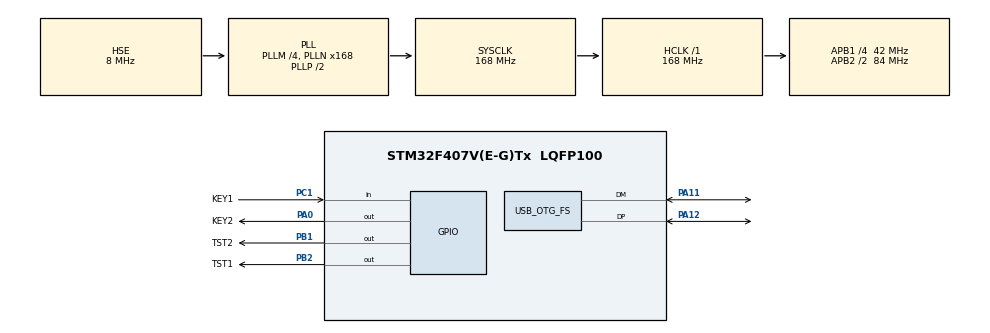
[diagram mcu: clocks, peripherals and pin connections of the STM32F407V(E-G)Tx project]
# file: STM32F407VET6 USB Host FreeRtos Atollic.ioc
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FREERTOS.INCLUDE_eTaskGetState=1
FREERTOS.INCLUDE_pcTaskGetTaskName=1
FREERTOS.INCLUDE_uxTaskGetStackHighWaterMark=1
FREERTOS.INCLUDE_xTaskGetCurrentTaskHandle=1
FREERTOS.INCLUDE_xTaskGetHandle=1
FREERTOS.Tasks01=defaultTask,16,1700,StartDefaultTask,Default,NULL,Dynamic,NULL,NULL
FREERTOS.configCHECK_FOR_STACK_OVERFLOW=2
FREERTOS.configGENERATE_RUN_TIME_STATS=1
FREERTOS.configMINIMAL_STACK_SIZE=1024
FREERTOS.configRECORD_STACK_HIGH_ADDRESS=1
FREERTOS.configUSE_DAEMON_TASK_STARTUP_HOOK=1
FREERTOS.configUSE_MALLOC_FAILED_HOOK=1
FREERTOS.configUSE_STATS_FORMATTING_FUNCTIONS=1
FREERTOS.configUSE_TRACE_FACILITY=1
Mcu.Family=STM32F4
Mcu.Name=STM32F407V(E-G)Tx
Mcu.Package=LQFP100
NVIC.OTG_FS_IRQn=true\:5\:0\:false\:false\:true\:true\:true\:true
NVIC.PriorityGroup=NVIC_PRIORITYGROUP_4
NVIC.TIM4_IRQn=true\:5\:0\:false\:false\:true\:true\:true\:true
NVIC.TIM8_TRG_COM_TIM14_IRQn=true\:0\:0\:false\:false\:true\:false\:false\:true
NVIC.TimeBase=TIM8_TRG_COM_TIM14_IRQn
NVIC.TimeBaseIP=TIM14
PA0-WKUP.GPIO_Label=KEY2
PA0-WKUP.Signal=GPIO_Output
PA11.Mode=Host_Only
PA11.Signal=USB_OTG_FS_DM
PA12.Mode=Host_Only
PA12.Signal=USB_OTG_FS_DP
PA13.Mode=Serial_Wire
PA13.Signal=SYS_JTMS-SWDIO
PA14.Mode=Serial_Wire
PA14.Signal=SYS_JTCK-SWCLK
PB1.GPIO_Label=TST2
PB1.Signal=GPIO_Output
PB2.GPIO_Label=TST1
PB2.Signal=GPIO_Output
PC1.GPIO_Label=KEY1
PC1.GPIO_PuPd=GPIO_PULLDOWN
PC1.Signal=GPIO_Input
PH0-OSC_IN.Mode=HSE-External-Oscillator
PH0-OSC_IN.Signal=RCC_OSC_IN
PH1-OSC_OUT.Mode=HSE-External-Oscillator
PH1-OSC_OUT.Signal=RCC_OSC_OUT
ProjectManager.HeapSize=0x4000
ProjectManager.StackSize=0x4000
ProjectManager.TargetToolchain=TrueSTUDIO
RCC.48MHZClocksFreq_Value=48000000
RCC.AHBFreq_Value=168000000
RCC.APB1CLKDivider=RCC_HCLK_DIV4
RCC.APB1Freq_Value=42000000
RCC.APB1TimFreq_Value=84000000
RCC.APB2CLKDivider=RCC_HCLK_DIV2
RCC.APB2Freq_Value=84000000
RCC.APB2TimFreq_Value=168000000
RCC.CortexFreq_Value=168000000
RCC.HCLKFreq_Value=168000000
RCC.HSE_VALUE=8000000
RCC.HSI_VALUE=16000000
RCC.LSE_VALUE=32768
RCC.PLLM=4
RCC.PLLN=168
RCC.PLLQ=7
RCC.SYSCLKFreq_VALUE=168000000
RCC.SYSCLKSource=RCC_SYSCLKSOURCE_PLLCLK
RCC.VCOOutputFreq_Value=336000000
TIM4.Channel-Output\ Compare1\ No\ Output=TIM_CHANNEL_1
TIM4.Period=100
TIM4.Prescaler=840
TIM4.Pulse-Output\ Compare1\ No\ Output=50
USB_HOST.BSP.number=1
USB_HOST.USBH_DEBUG_LEVEL-HID_FS=3
USB_HOST.USBH_HandleTypeDef-HID_FS=hUsbHostFS
USB_HOST.USBH_MAX_DATA_BUFFER-HID_FS=1024
USB_HOST.USBH_MAX_SIZE_CONFIGURATION-HID_FS=512
USB_HOST.USBH_PROCESS_PRIO-HID_FS=osPriorityNormal
USB_HOST.VirtualModeFS=Hid
USB_HOST0.BSP.STBoard=false
USB_HOST0.BSP.api=Unknown
USB_HOST0.BSP.i2caddr=0
USB_HOST0.BSP.instance=PB1
USB_HOST0.BSP.ip=GPIO
USB_HOST0.BSP.mode=Output
USB_HOST0.BSP.name=Drive_VBUS_FS
USB_HOST0.BSP.solution=PB1
USB_OTG_FS.VirtualMode=Host_Only
USB_OTG_FS.phy_itface=HCD_PHY_EMBEDDED
VP_FREERTOS_VS_CMSIS_V2.Mode=CMSIS_V2
VP_SYS_VS_tim14.Mode=TIM14
VP_TIM4_VS_ClockSourceINT.Mode=Internal
VP_TIM4_VS_no_output1.Mode=Output Compare1 No Output
VP_USB_HOST_VS_USB_HOST_HID_FS.Mode=HID_FS
board=custom

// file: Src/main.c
/* USER CODE BEGIN Header */
/**
 ******************************************************************************
 * @file           : main.c
 * @brief          : Main program body
 ******************************************************************************
 * @attention
 *
 * <h2><center>&copy; Copyright (c) 2020 STMicroelectronics.
 * All rights reserved.</center></h2>
 *
 * This software component is licensed by ST under BSD 3-Clause license,
 * the "License"; You may not use this file except in compliance with the
 * License. You may obtain a copy of the License at:
 *                        opensource.org/licenses/BSD-3-Clause
 *
 ******************************************************************************
 */
/* USER CODE END Header */

#include "main.h"
#include "cmsis_os.h"
#include "usb_host.h"

/* USER CODE BEGIN Includes */
#include "usbh_hid_keybd.h"
//#include "task.h"

/* USER CODE END Includes */

/* USER CODE BEGIN PM */
extern volatile unsigned long ulHighFrequencyTimerTicks;
/* USER CODE END PM */

TIM_HandleTypeDef htim4;

osThreadId_t defaultTaskHandle;

void SystemClock_Config(void);
static void MX_GPIO_Init(void);
static void MX_TIM4_Init(void);
void StartDefaultTask(void *argument); // for v2

/* USER CODE BEGIN 0 */
//extern USBH_HandleTypeDef hUsbHostFS;
uint8_t buf[1000];

//#define traceTASK_SWITCHED_IN() aaa(printf("traceTASK_SWITCHED_IN\n");)
//extern uint8_t FreeRTOSDebugConfig[];
/* USER CODE END 0 */

int main(void)
{
	/* USER CODE BEGIN 1 */
	/*if (FreeRTOSDebugConfig[0] == 0)
	{

	   for(;;);
	 }*/

	/* USER CODE END 1 */

	/* MCU Configuration--------------------------------------------------------*/

	/* Reset of all peripherals, Initializes the Flash interface and the Systick. */
	HAL_Init();

	/* Configure the system clock */
	SystemClock_Config();

	/* Initialize all configured peripherals */
	MX_GPIO_Init();
	MX_TIM4_Init();

	/* USER CODE BEGIN 2 */

	printf("start\n");

	//vTaskStartTrace();
	HAL_TIM_Base_Start_IT(&htim4);

	//MX_USB_HOST_Init();

	/* USER CODE END 2 */

	osKernelInitialize(); // Initialize CMSIS-RTOS

	/* Create the thread(s) */
	/* definition and creation of defaultTask */
	const osThreadAttr_t defaultTask_attributes = {
			.name = "defaultTask",
			.priority = (osPriority_t) osPriorityBelowNormal,
			.stack_size = 1700
	};
	defaultTaskHandle = osThreadNew(StartDefaultTask, NULL, &defaultTask_attributes);

	/* USER CODE BEGIN RTOS_THREADS */
	MX_USB_HOST_Init();
	/* USER CODE END RTOS_THREADS */

	/* Start scheduler */
	osKernelStart();

	/* We should never get here as control is now taken by the scheduler */

	/* Infinite loop */
	while (1)
	{

	}
}

void SystemClock_Config(void)
{
	RCC_OscInitTypeDef RCC_OscInitStruct = {0};
	RCC_ClkInitTypeDef RCC_ClkInitStruct = {0};

	/** Configure the main internal regulator output voltage
	 */
	__HAL_RCC_PWR_CLK_ENABLE();
	__HAL_PWR_VOLTAGESCALING_CONFIG(PWR_REGULATOR_VOLTAGE_SCALE1);
	/** Initializes the CPU, AHB and APB busses clocks
	 */
	RCC_OscInitStruct.OscillatorType = RCC_OSCILLATORTYPE_HSE;
	RCC_OscInitStruct.HSEState = RCC_HSE_ON;
	RCC_OscInitStruct.PLL.PLLState = RCC_PLL_ON;
	RCC_OscInitStruct.PLL.PLLSource = RCC_PLLSOURCE_HSE;
	RCC_OscInitStruct.PLL.PLLM = 4;
	RCC_OscInitStruct.PLL.PLLN = 168;
	RCC_OscInitStruct.PLL.PLLP = RCC_PLLP_DIV2;
	RCC_OscInitStruct.PLL.PLLQ = 7;
	if (HAL_RCC_OscConfig(&RCC_OscInitStruct) != HAL_OK)
	{
		Error_Handler();
	}
	/** Initializes the CPU, AHB and APB busses clocks
	 */
	RCC_ClkInitStruct.ClockType = RCC_CLOCKTYPE_HCLK|RCC_CLOCKTYPE_SYSCLK
			|RCC_CLOCKTYPE_PCLK1|RCC_CLOCKTYPE_PCLK2;
	RCC_ClkInitStruct.SYSCLKSource = RCC_SYSCLKSOURCE_PLLCLK;
	RCC_ClkInitStruct.AHBCLKDivider = RCC_SYSCLK_DIV1;
	RCC_ClkInitStruct.APB1CLKDivider = RCC_HCLK_DIV4;
	RCC_ClkInitStruct.APB2CLKDivider = RCC_HCLK_DIV2;

	if (HAL_RCC_ClockConfig(&RCC_ClkInitStruct, FLASH_LATENCY_5) != HAL_OK)
	{
		Error_Handler();
	}
}

static void MX_TIM4_Init(void)
{

	TIM_ClockConfigTypeDef sClockSourceConfig = {0};
	TIM_MasterConfigTypeDef sMasterConfig = {0};
	TIM_OC_InitTypeDef sConfigOC = {0};

	htim4.Instance = TIM4;
	htim4.Init.Prescaler = 840;
	htim4.Init.CounterMode = TIM_COUNTERMODE_UP;
	htim4.Init.Period = 100;
	htim4.Init.ClockDivision = TIM_CLOCKDIVISION_DIV1;
	htim4.Init.AutoReloadPreload = TIM_AUTORELOAD_PRELOAD_DISABLE;
	if (HAL_TIM_Base_Init(&htim4) != HAL_OK)
	{
		Error_Handler();
	}
	sClockSourceConfig.ClockSource = TIM_CLOCKSOURCE_INTERNAL;
	if (HAL_TIM_ConfigClockSource(&htim4, &sClockSourceConfig) != HAL_OK)
	{
		Error_Handler();
	}
	if (HAL_TIM_OC_Init(&htim4) != HAL_OK)
	{
		Error_Handler();
	}
	sMasterConfig.MasterOutputTrigger = TIM_TRGO_RESET;
	sMasterConfig.MasterSlaveMode = TIM_MASTERSLAVEMODE_DISABLE;
	if (HAL_TIMEx_MasterConfigSynchronization(&htim4, &sMasterConfig) != HAL_OK)
	{
		Error_Handler();
	}
	sConfigOC.OCMode = TIM_OCMODE_TIMING;
	sConfigOC.Pulse = 50;
	sConfigOC.OCPolarity = TIM_OCPOLARITY_HIGH;
	sConfigOC.OCFastMode = TIM_OCFAST_DISABLE;
	if (HAL_TIM_OC_ConfigChannel(&htim4, &sConfigOC, TIM_CHANNEL_1) != HAL_OK)
	{
		Error_Handler();
	}

}

static void MX_GPIO_Init(void)
{
	GPIO_InitTypeDef GPIO_InitStruct = {0};

	/* GPIO Ports Clock Enable */
	__HAL_RCC_GPIOH_CLK_ENABLE();
	__HAL_RCC_GPIOC_CLK_ENABLE();
	__HAL_RCC_GPIOA_CLK_ENABLE();
	__HAL_RCC_GPIOB_CLK_ENABLE();

	/*Configure GPIO pin Output Level */
	HAL_GPIO_WritePin(KEY2_GPIO_Port, KEY2_Pin, GPIO_PIN_RESET);

	/*Configure GPIO pin Output Level */
	HAL_GPIO_WritePin(GPIOB, TST2_Pin|TST1_Pin, GPIO_PIN_RESET);

	/*Configure GPIO pin : KEY1_Pin */
	GPIO_InitStruct.Pin = KEY1_Pin;
	GPIO_InitStruct.Mode = GPIO_MODE_INPUT;
	GPIO_InitStruct.Pull = GPIO_PULLDOWN;
	HAL_GPIO_Init(KEY1_GPIO_Port, &GPIO_InitStruct);

	/*Configure GPIO pin : KEY2_Pin */
	GPIO_InitStruct.Pin = KEY2_Pin;
	GPIO_InitStruct.Mode = GPIO_MODE_OUTPUT_PP;
	GPIO_InitStruct.Pull = GPIO_NOPULL;
	GPIO_InitStruct.Speed = GPIO_SPEED_FREQ_LOW;
	HAL_GPIO_Init(KEY2_GPIO_Port, &GPIO_InitStruct);

	/*Configure GPIO pins : TST2_Pin TST1_Pin */
	GPIO_InitStruct.Pin = TST2_Pin|TST1_Pin;
	GPIO_InitStruct.Mode = GPIO_MODE_OUTPUT_PP;
	GPIO_InitStruct.Pull = GPIO_NOPULL;
	GPIO_InitStruct.Speed = GPIO_SPEED_FREQ_LOW;
	HAL_GPIO_Init(GPIOB, &GPIO_InitStruct);

}

/* USER CODE BEGIN 4 */

void USBH_HID_EventCallback(USBH_HandleTypeDef *phost)
{
	//USBH_HID_KeybdDecode(phost);
	printf("\nUSBH_HID_EventCallback\n");
	HID_KEYBD_Info_TypeDef * k_pinfo;
	//TM_USBH_HID_Keyboard_t KeyboardStruct;

	k_pinfo = USBH_HID_GetKeybdInfo(phost);

	if (k_pinfo != 0)
	{
		uint8_t ch = USBH_HID_GetASCIICode(k_pinfo);
		printf("USBH_HID_GetASCIICode = %c\n",ch);

		//wMaxPacketSize

		printf("all : ");
		for (uint8_t i = 0; i < 6; i++)
		{
			ch = k_pinfo->keys[i];
			printf(" %0.2X",ch);
		}
		printf("\n");

	}
}

/* USER CODE END 4 */

void StartDefaultTask(void *argument)
{
	/* init code for USB_HOST */

	/* USER CODE BEGIN 5 */
	uint16_t ii=0;
	/* Infinite loop */
	for(;;)
	{
		//printf("StartDefaultTask %d\n",ii++);
		vTaskDelay(1);

		/*vTaskGetRunTimeStats(buf);
		printf(":: %s\n",buf);

		vTaskList(buf);
		printf(":: %s\n",buf);*/

		//vTaskGetInfo();

	}
	/* USER CODE END 5 */
}

void HAL_TIM_PeriodElapsedCallback(TIM_HandleTypeDef *htim)
{
	if (htim->Instance == TIM14) {
		HAL_IncTick();
	}
	/* USER CODE BEGIN Callback 1 */
	else if (htim->Instance == TIM4)
	{
		//printf("HAL_TIM_PeriodElapsedCallback\n");
		ulHighFrequencyTimerTicks++;
	}
	/* USER CODE END Callback 1 */
}

void Error_Handler(void)
{
}

/************************ (C) COPYRIGHT STMicroelectronics *****END OF FILE****/

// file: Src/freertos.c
/* USER CODE BEGIN Header */
/**
  ******************************************************************************
  * File Name          : freertos.c
  * Description        : Code for freertos applications
  ******************************************************************************
  * @attention
  *
  * <h2><center>&copy; Copyright (c) 2020 STMicroelectronics.
  * All rights reserved.</center></h2>
  *
  * This software component is licensed by ST under Ultimate Liberty license
  * SLA0044, the "License"; You may not use this file except in compliance with
  * the License. You may obtain a copy of the License at:
  *                             www.st.com/SLA0044
  *
  ******************************************************************************
  */
/* USER CODE END Header */

#include "FreeRTOS.h"
#include "task.h"
#include "main.h"

/* USER CODE BEGIN Includes */
#include <stdio.h>
/* USER CODE END Includes */

/* Hook prototypes */
void configureTimerForRunTimeStats(void);
unsigned long getRunTimeCounterValue(void);
void vApplicationStackOverflowHook(xTaskHandle xTask, signed char *pcTaskName);
void vApplicationMallocFailedHook(void);
void vApplicationDaemonTaskStartupHook(void);

/* USER CODE BEGIN 1 */
volatile unsigned long ulHighFrequencyTimerTicks = 0;

/* Functions needed when configGENERATE_RUN_TIME_STATS is on */
void configureTimerForRunTimeStats(void)
{
	ulHighFrequencyTimerTicks = 0UL;
	//printf("configureTimerForRunTimeStats\n");
}

unsigned long getRunTimeCounterValue(void)
{
	//printf("getRunTimeCounterValue %d\n",ulHighFrequencyTimerTicks);
	return ulHighFrequencyTimerTicks;
}
/* USER CODE END 1 */

/* USER CODE BEGIN 4 */
void vApplicationStackOverflowHook(xTaskHandle xTask, signed char *pcTaskName)
{
   /* Run time stack overflow checking is performed if
   configCHECK_FOR_STACK_OVERFLOW is defined to 1 or 2. This hook function is
   called if a stack overflow is detected. */
	printf("vApplicationStackOverflowHook\n");
}
/* USER CODE END 4 */

/* USER CODE BEGIN 5 */
void vApplicationMallocFailedHook(void)
{
   /* vApplicationMallocFailedHook() will only be called if
   configUSE_MALLOC_FAILED_HOOK is set to 1 in FreeRTOSConfig.h. It is a hook
   function that will get called if a call to pvPortMalloc() fails.
   pvPortMalloc() is called internally by the kernel whenever a task, queue,
   timer or semaphore is created. It is also called by various parts of the
   demo application. If heap_1.c or heap_2.c are used, then the size of the
   heap available to pvPortMalloc() is defined by configTOTAL_HEAP_SIZE in
   FreeRTOSConfig.h, and the xPortGetFreeHeapSize() API function can be used
   to query the size of free heap space that remains (although it does not
   provide information on how the remaining heap might be fragmented). */
	printf("vApplicationMallocFailedHook\n");
}
/* USER CODE END 5 */

/* USER CODE BEGIN DAEMON_TASK_STARTUP_HOOK */
void vApplicationDaemonTaskStartupHook(void)
{
	printf("vApplicationDaemonTaskStartupHook\n");
}
/* USER CODE END DAEMON_TASK_STARTUP_HOOK */

/************************ (C) COPYRIGHT STMicroelectronics *****END OF FILE****/
